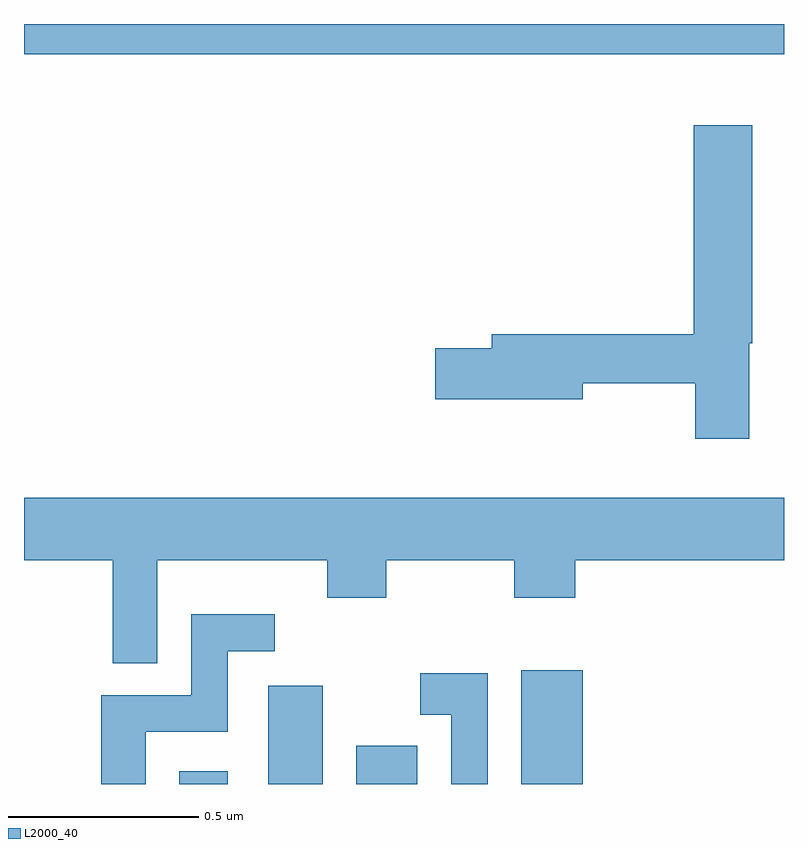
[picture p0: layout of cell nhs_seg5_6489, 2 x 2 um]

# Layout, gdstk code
import gdstk
lib = gdstk.Library(unit=1e-6, precision=1e-09)
def R(c, l, rs):  # rectangles x0, y0, x1, y1
    for r in rs: c.add(gdstk.rectangle(r[:2], r[2:], *l))
def P(c, l, *ps):  # polygons
    for p in ps: c.add(gdstk.Polygon(p, *l))
L2000_40 = (2000, 40)

nhs_seg5_6489 = lib.new_cell('nhs_seg5_6489')
R(nhs_seg5_6489, L2000_40, [(196.409,894.799,196.536,894.832), (196.643,894.799,196.786,895.057), (196.874,894.799,197.035,894.9), (197.309,894.799,197.47,895.099), (196,896.72,198,896.799)])
P(nhs_seg5_6489, L2000_40, [(197.908,895.959),(197.916,895.959),(197.916,896.533),(197.762,896.533),(197.762,895.982),(197.231,895.982),(197.231,895.946),(197.082,895.946),(197.082,895.811),(197.47,895.811),(197.47,895.854),(197.767,895.854),(197.767,895.707),(197.908,895.707)],
  [(196.351,895.388),(196.798,895.388),(196.798,895.289),(196.953,895.289),(196.953,895.388),(197.29,895.388),(197.29,895.289),(197.45,895.289),(197.45,895.388),(198,895.388),(198,895.552),(196,895.552),(196,895.388),(196.233,895.388),(196.233,895.117),(196.351,895.117)],
  [(196.321,894.936),(196.536,894.936),(196.536,895.149),(196.66,895.149),(196.66,895.246),(196.44,895.246),(196.44,895.032),(196.203,895.032),(196.203,894.799),(196.321,894.799)],
  [(197.22,895.09),(197.043,895.09),(197.043,894.981),(197.124,894.981),(197.124,894.799),(197.22,894.799)])

lib.write_gds('nhs_seg5_6489.gds')
